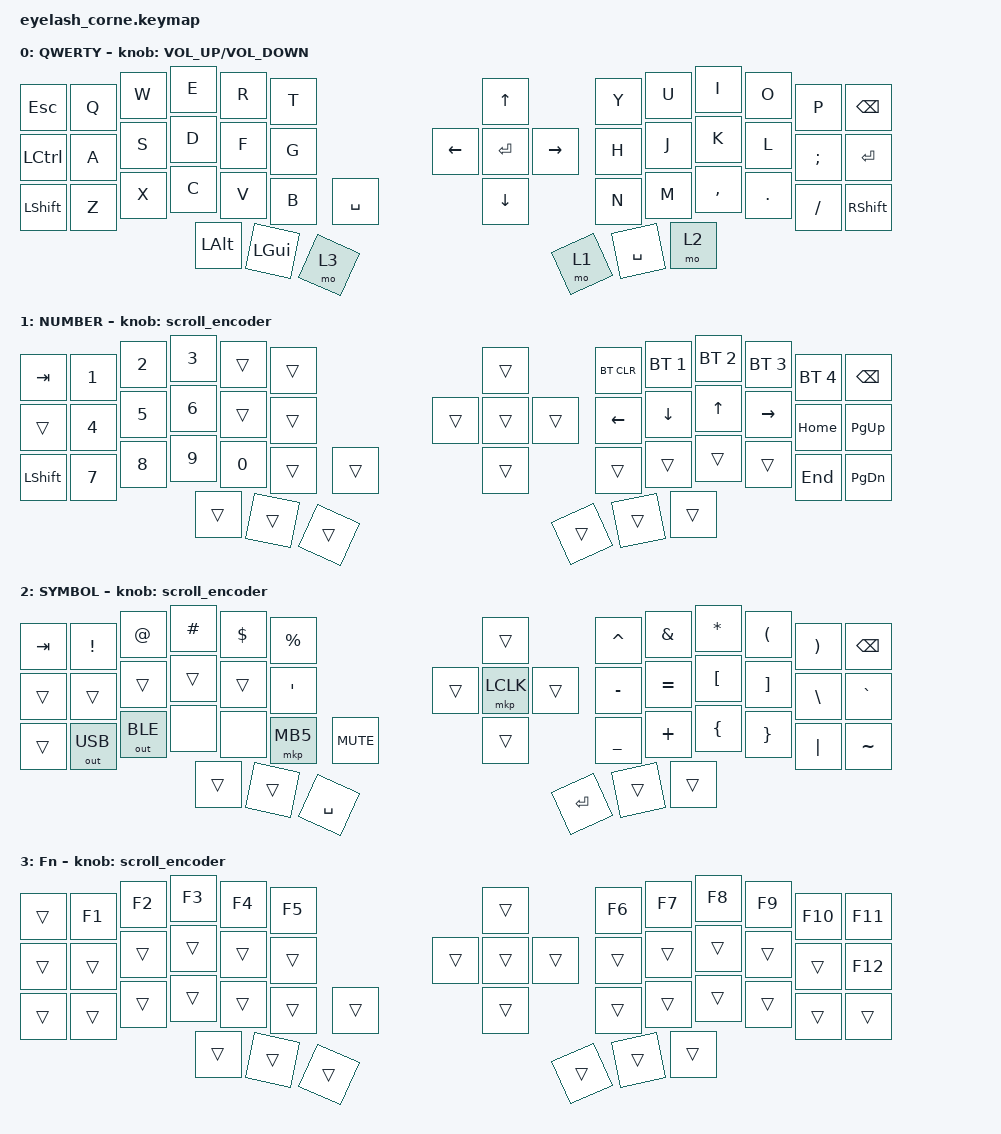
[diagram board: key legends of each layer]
#define ZMK_POINTING_DEFAULT_MOVE_VAL 1200  // 600
#define ZMK_POINTING_DEFAULT_SCRL_VAL 25   // 10

#include <input/processors.dtsi>
#include <zephyr/dt-bindings/input/input-event-codes.h>
#include <behaviors.dtsi>
#include <dt-bindings/zmk/bt.h>
#include <dt-bindings/zmk/keys.h>
#include <dt-bindings/zmk/outputs.h>
#include <dt-bindings/zmk/pointing.h>
#include <dt-bindings/zmk/rgb.h>

&mmv_input_listener { input-processors = <&zip_xy_scaler 2 1>; };

&msc_input_listener { input-processors = <&zip_scroll_scaler 2 1>; };

&msc {
    acceleration-exponent = <1>;      // 0
    time-to-max-speed-ms = <100>;       // 300
    delay-ms = <0>;                   // 0
};

&mmv {
    time-to-max-speed-ms = <500>;
    acceleration-exponent = <1>;
    trigger-period-ms = <16>;
};

/ {
    behaviors {
        td0: td0 {
            compatible = "zmk,behavior-tap-dance";
            display-name = "Shift/Caps Lock Tap Dance";
            #binding-cells = <0>;
            bindings = <&kp LEFT_SHIFT>, <&kp CAPS>;
        };
    };

    rgb_encoder: rgb_encoder {
        compatible = "zmk,behavior-sensor-rotate";
        #sensor-binding-cells = <0>;
        bindings = <&rgb_ug RGB_BRI>, <&rgb_ug RGB_BRD>;
    };

    scroll_encoder: scroll_encoder {
        compatible = "zmk,behavior-sensor-rotate";
        #sensor-binding-cells = <0>;
        bindings = <&msc SCRL_DOWN>, <&msc SCRL_UP>;

        tap-ms = <100>;
    };

    keymap {
        compatible = "zmk,keymap";

        default_layer {
            display-name = "QWERTY";
            bindings = <
&kp ESCAPE    &kp Q  &kp W      &kp E     &kp R  &kp T                              &kp UP                &kp Y        &kp U  &kp I      &kp O    &kp P     &kp BSPC
&kp LCTRL       &kp A  &kp S      &kp D     &kp F  &kp G                    &kp LEFT  &kp ENTER  &kp RIGHT  &kp H        &kp J  &kp K      &kp L    &kp SEMI  &kp ENTER
&kp LSHIFT  &kp Z  &kp X      &kp C     &kp V  &kp B       &kp SPACE              &kp DOWN              &kp N        &kp M  &kp COMMA  &kp DOT  &kp FSLH  &kp RIGHT_SHIFT
                             &kp LEFT_ALT  &kp LEFT_GUI  &mo 3                                              &mo 1  &kp SPACE  &mo 2
            >;

             sensor-bindings = <&inc_dec_kp C_VOLUME_UP C_VOLUME_DOWN>;

           
        };

        lower_layer {
            display-name = "NUMBER";
            bindings = <
&kp TAB  &kp N1           &kp N2          &kp N3        &trans        &trans                                &trans            &bt BT_CLR           &bt BT_SEL 1          &bt BT_SEL 2          &bt BT_SEL 3          &bt BT_SEL 4    &kp BSPC
&trans  &kp N4   &kp N5    &kp N6  &trans  &trans                  &trans  &trans  &trans &kp LEFT         &kp DOWN         &kp UP           &kp RIGHT        &kp HOME  &kp PG_UP
&kp LSHIFT  &kp N7  &kp N8  &kp N9     &kp N0        &trans &trans            &trans            &trans  &trans  &trans  &trans  &kp END   &kp PG_DN
                                         &trans        &trans        &trans                                                  &trans         &trans          &trans
            >;

            sensor-bindings = <&scroll_encoder>;
        };

        raise_layer {
            display-name = "SYMBOL";
            bindings = <
&kp TAB  &kp EXCL      &kp AT        &kp HASH   &kp DLLR   &kp PRCNT                       &trans            &kp CARET  &kp AMPS   &kp ASTRK  &kp LPAR  &kp RPAR  &kp BSPC
&trans  &trans    &trans     &trans  &trans  &kp SQT                &trans  &mkp LCLK  &trans &kp MINUS  &kp EQUAL  &kp LBKT   &kp RBKT  &kp BSLH  &kp GRAVE
&trans  &out OUT_USB  &out OUT_BLE  &none      &none      &mkp MB5  &kp C_MUTE            &trans            &kp UNDER  &kp PLUS   &kp LBRC   &kp RBRC  &kp PIPE  &kp TILDE
                                    &trans     &trans     &kp SPACE                                         &kp RET    &trans     &trans
            >;

            sensor-bindings = <&scroll_encoder>;
        };

        layer_3 {
            display-name = "Fn";
            bindings = <
&trans  &kp F1      &kp F2      &kp F3       &kp F4     &kp F5                         &trans            &kp F6       &kp F7     &kp F8       &kp F9      &kp F10          &kp F11
&trans  &trans      &trans   &trans    &trans  &trans               &trans  &trans  &trans &trans  &trans  &trans    &trans   &trans  &kp F12
&trans  &trans  &trans      &trans  &trans     &trans &trans            &trans            &trans       &trans     &trans  &trans  &trans   &trans
                                &trans      &trans      &trans                                           &trans       &trans     &trans
            >;

            sensor-bindings = <&scroll_encoder>;
        };
    };
};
